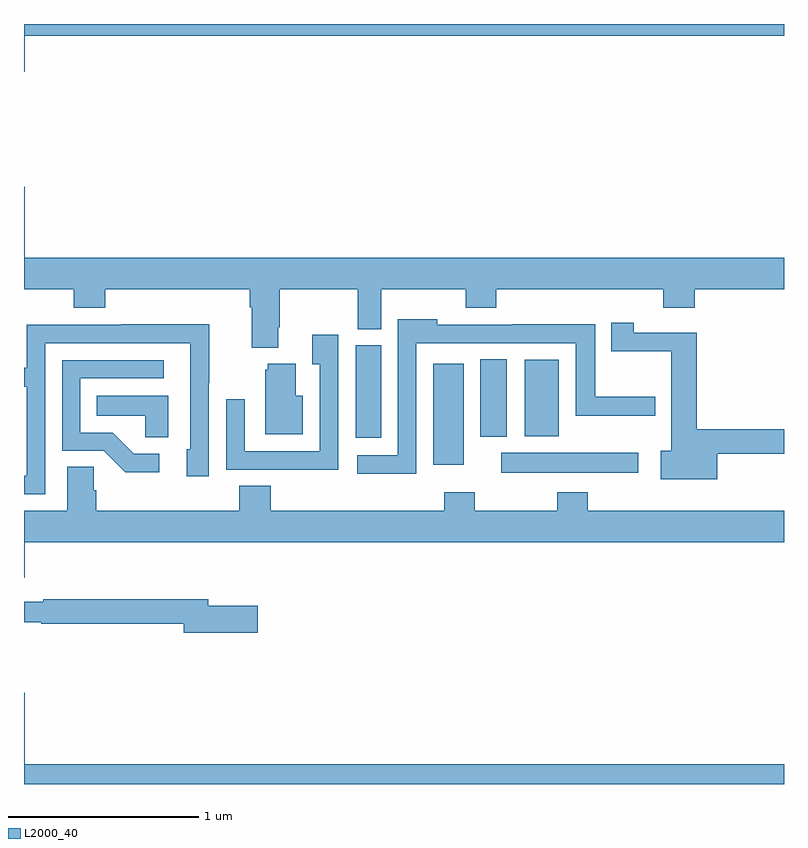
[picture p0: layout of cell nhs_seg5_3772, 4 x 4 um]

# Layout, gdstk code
import gdstk
lib = gdstk.Library(unit=1e-6, precision=1e-09)
def R(c, l, rs):  # rectangles x0, y0, x1, y1
    for r in rs: c.add(gdstk.rectangle(r[:2], r[2:], *l))
def P(c, l, *ps):  # polygons
    for p in ps: c.add(gdstk.Polygon(p, *l))
L2000_40 = (2000, 40)

nhs_seg5_3772 = lib.new_cell('nhs_seg5_3772')
R(nhs_seg5_3772, L2000_40, [(335.511,878.438,336.232,878.542), (335.153,878.478,335.314,879.01), (334.745,878.622,334.879,879.108), (335.402,878.627,335.542,879.035), (335.636,878.63,335.815,879.031)])
P(nhs_seg5_3772, L2000_40, [(333.004,880.736),(337,880.736),(337,880.799),(333,880.799),(333,880.548),(333.004,880.548)],
  [(334.339,879.202),(334.347,879.202),(334.347,879.404),(334.756,879.404),(334.756,879.193),(334.879,879.193),(334.879,879.404),(335.326,879.404),(335.326,879.305),(335.486,879.305),(335.486,879.404),(336.365,879.404),(336.365,879.305),(336.53,879.305),(336.53,879.404),(337,879.404),(337,879.568),(333.004,879.568),(333.004,879.943),(333,879.943),(333,879.404),(333.263,879.404),(333.263,879.305),(333.428,879.305),(333.428,879.404),(334.187,879.404),(334.187,879.308),(334.199,879.308),(334.199,879.095),(334.339,879.095)],
  [(335.064,879.12),(335.903,879.12),(335.903,878.738),(336.322,878.738),(336.322,878.838),(336.007,878.838),(336.007,879.218),(335.569,879.218),(335.569,879.216),(335.175,879.216),(335.175,879.244),(334.968,879.244),(334.968,878.529),(334.755,878.529),(334.755,878.432),(335.064,878.432)],
  [(336.649,878.538),(337,878.538),(337,878.666),(336.542,878.666),(336.542,879.175),(336.21,879.175),(336.21,879.226),(336.092,879.226),(336.092,879.076),(336.407,879.076),(336.407,878.552),(336.351,878.552),(336.351,878.402),(336.649,878.402)],
  [(333.111,879.12),(333.876,879.12),(333.876,878.562),(333.857,878.562),(333.857,878.418),(333.972,878.418),(333.972,878.911),(333.975,878.911),(333.975,879.218),(333.511,879.218),(333.511,879.216),(333.015,879.216),(333.015,878.991),(333,878.991),(333,878.89),(333.015,878.89),(333.015,878.421),(333,878.421),(333,878.325),(333.111,878.325)],
  [(334.653,879.163),(334.517,879.163),(334.517,879.007),(334.557,879.007),(334.557,878.55),(334.161,878.55),(334.161,878.824),(334.065,878.824),(334.065,878.454),(334.381,878.454),(334.381,878.453),(334.653,878.453)],
  [(333.712,878.538),(333.577,878.538),(333.466,878.649),(333.297,878.649),(333.297,878.934),(333.736,878.934),(333.736,879.03),(333.201,879.03),(333.201,878.553),(333.42,878.553),(333.533,878.441),(333.712,878.441)],
  [(334.468,878.842),(334.429,878.842),(334.429,879.01),(334.283,879.01),(334.283,878.979),(334.271,878.979),(334.271,878.639),(334.468,878.639)],
  [(333.76,878.842),(333.382,878.842),(333.382,878.738),(333.639,878.738),(333.639,878.623),(333.76,878.623)],
  [(333.004,878.072),(337,878.072),(337,878.236),(335.966,878.236),(335.966,878.335),(335.806,878.335),(335.806,878.236),(335.373,878.236),(335.373,878.335),(335.213,878.335),(335.213,878.236),(334.298,878.236),(334.298,878.369),(334.133,878.369),(334.133,878.236),(333.38,878.236),(333.38,878.345),(333.366,878.345),(333.366,878.468),(333.227,878.468),(333.227,878.236),(333,878.236),(333,877.884),(333.004,877.884)],
  [(334.231,877.737),(333.97,877.737),(333.97,877.771),(333.1,877.771),(333.1,877.758),(333,877.758),(333,877.65),(333.092,877.65),(333.092,877.642),(333.842,877.642),(333.842,877.595),(334.231,877.595)],
  [(337,876.904),(333.004,876.904),(333.004,877.279),(333,877.279),(333,876.799),(337,876.799)])

lib.write_gds('nhs_seg5_3772.gds')
